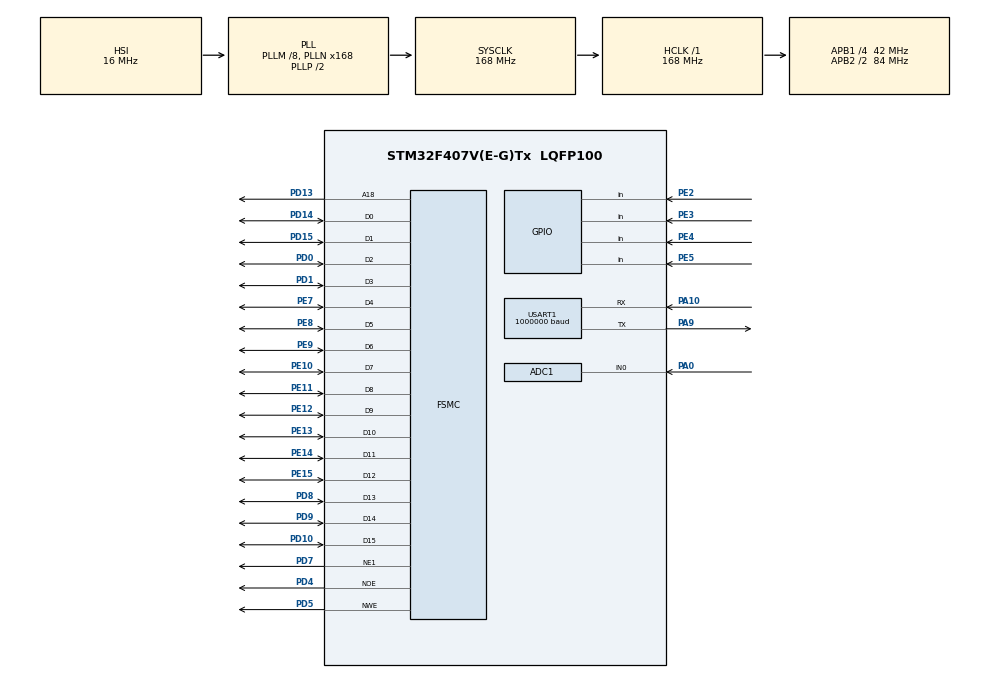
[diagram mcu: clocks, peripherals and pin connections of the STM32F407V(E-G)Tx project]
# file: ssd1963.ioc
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ADC1.Channel-0\#ChannelRegularConversion=ADC_CHANNEL_0
ADC1.NbrOfConversionFlag=1
ADC1.Rank-0\#ChannelRegularConversion=1
ADC1.SamplingTime-0\#ChannelRegularConversion=ADC_SAMPLETIME_3CYCLES
ADC1.master=1
FSMC.AddressSetupTime1=1
FSMC.DataSetupTime1=5
FSMC.WriteOperation1=FSMC_WRITE_OPERATION_ENABLE
Mcu.Family=STM32F4
Mcu.Name=STM32F407V(E-G)Tx
Mcu.Package=LQFP100
NVIC.PriorityGroup=NVIC_PRIORITYGROUP_4
NVIC.TIM1_BRK_TIM9_IRQn=true\:0\:0\:false\:false\:true\:true\:true\:true
NVIC.TIM7_IRQn=true\:0\:0\:false\:false\:true\:true\:true\:true
PA0-WKUP.Signal=ADCx_IN0
PA10.Mode=Asynchronous
PA10.Signal=USART1_RX
PA9.Mode=Asynchronous
PA9.Signal=USART1_TX
PD0.Mode=16b-d1
PD0.Signal=FSMC_D2
PD1.Mode=16b-d1
PD1.Signal=FSMC_D3
PD10.Mode=16b-d1
PD10.Signal=FSMC_D15
PD13.Mode=A18_1
PD13.Signal=FSMC_A18
PD14.Mode=16b-d1
PD14.Signal=FSMC_D0
PD15.Mode=16b-d1
PD15.Signal=FSMC_D1
PD4.Mode=Lcd1
PD4.Signal=FSMC_NOE
PD5.Mode=Lcd1
PD5.Signal=FSMC_NWE
PD7.Mode=NorPsramChipSelect1_1
PD7.Signal=FSMC_NE1
PD8.Mode=16b-d1
PD8.Signal=FSMC_D13
PD9.Mode=16b-d1
PD9.Signal=FSMC_D14
PE10.Mode=16b-d1
PE10.Signal=FSMC_D7
PE11.Mode=16b-d1
PE11.Signal=FSMC_D8
PE12.Mode=16b-d1
PE12.Signal=FSMC_D9
PE13.Mode=16b-d1
PE13.Signal=FSMC_D10
PE14.Mode=16b-d1
PE14.Signal=FSMC_D11
PE15.Mode=16b-d1
PE15.Signal=FSMC_D12
PE2.GPIO_PuPd=GPIO_PULLDOWN
PE2.Signal=GPIO_Input
PE3.GPIO_PuPd=GPIO_PULLDOWN
PE3.Signal=GPIO_Input
PE4.GPIO_PuPd=GPIO_PULLDOWN
PE4.Signal=GPIO_Input
PE5.GPIO_PuPd=GPIO_PULLDOWN
PE5.Signal=GPIO_Input
PE7.Mode=16b-d1
PE7.Signal=FSMC_D4
PE8.Mode=16b-d1
PE8.Signal=FSMC_D5
PE9.Mode=16b-d1
PE9.Signal=FSMC_D6
ProjectManager.HeapSize=0x200
ProjectManager.StackSize=0x400
ProjectManager.TargetToolchain=STM32CubeIDE
RCC.48MHZClocksFreq_Value=84000000
RCC.AHBFreq_Value=168000000
RCC.APB1CLKDivider=RCC_HCLK_DIV4
RCC.APB1Freq_Value=42000000
RCC.APB1TimFreq_Value=84000000
RCC.APB2CLKDivider=RCC_HCLK_DIV2
RCC.APB2Freq_Value=84000000
RCC.APB2TimFreq_Value=168000000
RCC.CortexFreq_Value=168000000
RCC.HCLKFreq_Value=168000000
RCC.HSE_VALUE=25000000
RCC.HSI_VALUE=16000000
RCC.LSE_VALUE=32768
RCC.PLLM=8
RCC.PLLN=168
RCC.SYSCLKFreq_VALUE=168000000
RCC.SYSCLKSource=RCC_SYSCLKSOURCE_PLLCLK
RCC.VCOOutputFreq_Value=336000000
SH.ADCx_IN0.0=ADC1_IN0,IN0
TIM7.Period=49
TIM7.Prescaler=8399
TIM9.Period=1999
TIM9.Prescaler=16799
USART1.BaudRate=1000000
USART1.VirtualMode=VM_ASYNC
VP_TIM7_VS_ClockSourceINT.Mode=Enable_Timer
VP_TIM9_VS_ClockSourceINT.Mode=Internal
board=custom

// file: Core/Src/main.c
/* USER CODE BEGIN Header */
/**
  ******************************************************************************
  * @file           : main.c
  * @brief          : Main program body
  ******************************************************************************
  * @attention
  *
  * Copyright (c) 2025 STMicroelectronics.
  * All rights reserved.
  *
  * This software is licensed under terms that can be found in the LICENSE file
  * in the root directory of this software component.
  * If no LICENSE file comes with this software, it is provided AS-IS.
  *
  ******************************************************************************
  */
/* USER CODE END Header */
#include "main.h"

/* USER CODE BEGIN Includes */
#include "menu.h"
#include "math.h"
#include <stdio.h>

uint8_t flag_botao_k0 = 0;
uint8_t flag_botao_k1 = 0;

/* USER CODE END Includes */

/* USER CODE BEGIN PD */

#define COUNT_LIM 50

/* USER CODE END PD */

ADC_HandleTypeDef hadc1;

TIM_HandleTypeDef htim7;
TIM_HandleTypeDef htim9;

UART_HandleTypeDef huart1;

SRAM_HandleTypeDef hsram1;

void SystemClock_Config(void);
static void MX_GPIO_Init(void);
static void MX_FSMC_Init(void);
static void MX_USART1_UART_Init(void);
static void MX_TIM7_Init(void);
static void MX_TIM9_Init(void);
static void MX_ADC1_Init(void);

int main(void)
{

  /* MCU Configuration--------------------------------------------------------*/

  /* Reset of all peripherals, Initializes the Flash interface and the Systick. */
  HAL_Init();

  /* Configure the system clock */
  SystemClock_Config();

  /* Initialize all configured peripherals */
  MX_GPIO_Init();
  MX_FSMC_Init();
  MX_USART1_UART_Init();
  MX_TIM7_Init();
  MX_TIM9_Init();
  MX_ADC1_Init();
  /* USER CODE BEGIN 2 */
  Init_SSD1963();
  HAL_TIM_Base_Start_IT(&htim7);
  HAL_TIM_Base_Start_IT(&htim9);
  TFT_Clear_Screen(VIVID_BLUE);
  /* USER CODE END 2 */

  /* Infinite loop */
  while (1)
  {

    /* USER CODE BEGIN 3 */

/************************************   MENU PRINCIPAL  *********************************************/
	  if(current_screen == 0){

		// Verifica se houve uma troca de telas, para imprimir apenas uma vez os elementos
		if (current_screen != ultimo_estado_menu)
		{
			TFT_Draw_Fill_Rectangle(0, 75, 800, 323, VIVID_BLUE);	// Limpa a tela
			starter_Screen();	// Imprime o esqueleto do menu
			home_screen();		// Printa os rótulos das opções e elementos individuais
			zeraBotoes();		// Zera os botões
		}

		// Verifica se alguém clicou no botão de troca de tela
		if (flag_botao_on){
			flag_escrita_tela = 1;	// Seta a flag de atualizar o rodapé e cabeçalho
			current_screen = 1;		// Muda o valor da tela atual
			zeraBotoes();			// Zera o valor da flag
		}

		// Verifica se alguém clicou no item onde descerá pelas opções da interface
		if (flag_botao_down)
		{
			zeraBotoes();		// Zera a flag dos botões
			item_selected++;	// Incrementa o item selecionado

			// Verifica se chegou no limite da lista e rezeta
			if (item_selected >= NUM_ITEMS)
				item_selected = 0;
		}

		// Verifica se alguém clicou no item onde subirá pelas opções da interface
		if(flag_botao_up)
		{
			zeraBotoes();		// Zera a flag dos botões
			item_selected--;	// Decrementa o item selecionado

			// Verifica se chegou no limite superior da lista e rezeta
			if (item_selected < 0)
				item_selected = NUM_ITEMS - 1;
		}

		// Função responsável por atualizar o cursor quando houver uma mudança no item selecionado
		atualiza_Cursor();
	  }

/************************************   TELA ESPECÍFICA  *********************************************/
	  else
	  {
			if (current_screen != ultimo_estado_menu)
			{
				TFT_Draw_Fill_Rectangle(0, 75, 800, 323, VIVID_BLUE);
				starter_Screen();
				ultimo_estado_menu = current_screen;
				flag_botao_on = flag_botao_off = flag_botao_up = flag_botao_down = 0;
			}

			/********************* BANHO *************************/
			if(item_selected == 0)
			{
				if(flag_estado_banho)
				{
					if(!flag_desligar_banho)
					{
						if(flag_resistencia_ativa)
						{
							flag_resistencia_ativa = flag_resistencia_ativa;
						}
						else if(!flag_resistencia_ativa && !flag_iniciar_banho)
						{
							sprintf(buffer, "%d|25", temp);
							LCD_Font(551, 310, buffer, _Open_Sans_Bold_24, 1, WHITE);
							LCD_Font(631, 307, "c", _Open_Sans_Bold_18, 1, WHITE);
							TFT_Draw_Circle(629, 293, 2, 0, 1, WHITE);
							LCD_Font(661, 307, "Aquecendo",_Open_Sans_Bold_16, 1, WHITE);
							flag_resistencia_ativa = 1;
						}

						if(flag_botao_on || volume_ficticio <= 1.0f)
						{
							TFT_Draw_Fill_Rectangle(0, 75, 800, 323, VIVID_BLUE);
							LCD_Font(150, 185, "Finalizando...", _Open_Sans_Bold_20, 1, WHITE);
							TFT_Draw_Fill_Round_Rect(150, 200, 500, 30, 10, GRAYISH_BLUE);
							flag_desligar_banho = 1;
							flag_resistencia_ativa = 0;
							zeraBotoes();
							flag_iniciar_banho = 0;
							contador_Iniciar = 0;

							flag_escrita_tela = 1;
						}
					}
					else
					{
						if(ultimo_contador_Desligar != contador_Desligar && (contador_Desligar % 5 == 0))
						{
							ultimo_contador_Desligar = contador_Desligar;
							uint16_t w = (500 * contador_Desligar) / COUNT_LIM;
							TFT_Draw_Fill_Round_Rect(150, 200, w, 30, 10, WHITE);
						}
					}
				}
				else
				{
					if (flag_botao_off)
					{
						flag_escrita_tela = 1;
						zeraBotoes();
						flag_botao_on = flag_botao_off = flag_botao_up = flag_botao_down = 0;
						current_screen = 0;
					}

					if(flag_botao_on && !flag_estado_banho && !flag_desligar_banho)
					{
						zeraBotoes();
						if(volume_ficticio >= 5.0f)
						{
							flag_escrita_tela = 1;
							flag_iniciar_banho = 1;
							flag_estado_banho = 1;
							TFT_Draw_Bitmap(603, 337, RECIRCULACAO_WIDTH, RECIRCULACAO_HEIGHT, recirculacao_bitmap, WHITE);
							LCD_Font(643, 357, "Recirculando",_Open_Sans_Bold_16, 1, WHITE);
						}

					}
				}

				if(volume_ficticio >= 10.0f && ultimo_volume_ficticio < 10.0f)
				{
					TFT_Draw_Fill_Round_Rect(620, 175, 150, 25, 5, GREEN);
					LCD_Font(658, 191, "nivel bom",_Open_Sans_Bold_14, 1, VIVID_BLUE);
					ultimo_volume_ficticio = volume_ficticio;
				}
				else if(volume_ficticio > 5.0f && volume_ficticio < 10.0f &&
						(ultimo_volume_ficticio <= 5.0f || ultimo_volume_ficticio >= 10.0f))
				{
					TFT_Draw_Fill_Round_Rect(620, 175, 150, 25, 5, YELLOW);
					LCD_Font(655, 191, "nivel baixo",_Open_Sans_Bold_14, 1, VIVID_BLUE);
					ultimo_volume_ficticio = volume_ficticio;
				}
				else if(volume_ficticio <= 5.0f && ultimo_volume_ficticio > 5.0f)
				{
					TFT_Draw_Fill_Round_Rect(620, 175, 150, 25, 5, RED);
					LCD_Font(630, 191, "nivel insuficiente",_Open_Sans_Bold_14, 1, VIVID_BLUE);
					ultimo_volume_ficticio = volume_ficticio;
				}

				if(flag_botao_up)
				{
					zeraBotoes();
					temp++;

					if(temp > 42) temp = 42;

					else
					{
						TFT_Draw_Fill_Rectangle(160, 185, 150, 100, VIVID_BLUE);
						sprintf(buffer, "%d", temp);
						LCD_Font(160, 280, buffer,_Open_Sans_Bold_128, 1, WHITE);

						TFT_Draw_Fill_Rectangle(546, 290, 35, 30, VIVID_BLUE);
						sprintf(buffer, "%d", temp);

						if(flag_resistencia_ativa) LCD_Font(551, 310, buffer, _Open_Sans_Bold_24, 1, WHITE);
						else LCD_Font(551, 310, buffer, _Open_Sans_Bold_24, 1, GRAYISH_BLUE);
					}
				}

				if(flag_botao_down)
				{
					zeraBotoes();
					temp--;

					if(temp < 36) temp = 36;

					else
					{
						TFT_Draw_Fill_Rectangle(160, 185, 150, 100, VIVID_BLUE);
						sprintf(buffer, "%d", temp);
						LCD_Font(160, 280, buffer,_Open_Sans_Bold_128, 1, WHITE);

						TFT_Draw_Fill_Rectangle(546, 290, 35, 30, VIVID_BLUE);
						sprintf(buffer, "%d", temp);

						if(flag_resistencia_ativa) LCD_Font(551, 310, buffer, _Open_Sans_Bold_24, 1, WHITE);
						else LCD_Font(551, 310, buffer, _Open_Sans_Bold_24, 1, GRAYISH_BLUE);
					}
				}

				if(flag_atualizar_tela && !flag_desligar_banho)
				{
					TFT_Draw_Fill_Rectangle(595, 130, 65, 28, VIVID_BLUE);
					sprintf(buffer, "%.1f", volume_ficticio);
					LCD_Font(600, 155, buffer,_Open_Sans_Bold_28, 1, WHITE);
					flag_atualizar_tela = 0;
				}
			}

			/********************* ABASTECIMENTO *************************/
			else if(item_selected == 1)
			{
				if(volume_ficticio >= 19.5f)
				{
					if(flag_estado_abastecimento) flag_estado_abastecimento = 0;

					if(!flag_volume)
					{
						TFT_Draw_Bitmap(105, 308, BANHO_PRONTO_WIDTH, BANHO_PRONTO_HEIGHT, banho_pronto_bitmap, GREEN);
						TFT_Draw_Fill_Round_Rect(145, 310, 125, 25, 5, GREEN);
						LCD_Font(163, 326, "Abastecido", _Open_Sans_Bold_14, 1, VIVID_BLUE);
						flag_escrita_tela = 1;
						flag_volume = 1;
					}
					else
					{
						if (flag_botao_off)
						{
							flag_escrita_tela = 1;
							flag_volume = 0;
							zeraBotoes();
							current_screen = 0;
						}
					}
				}
				else
				{
					if(flag_volume)
					{
						flag_volume = 0;
						flag_escrita_tela = 1;
						TFT_Draw_Fill_Round_Rect(105, 305, 165, 30, 5, VIVID_BLUE);
					}

					if(flag_estado_abastecimento)
					{
						if (flag_botao_on)
						{
							flag_escrita_tela = 1;
							zeraBotoes();
							flag_estado_abastecimento = 0;
							TFT_Draw_Bitmap(105, 308, BANHO_PRONTO_WIDTH, BANHO_PRONTO_HEIGHT, banho_pronto_bitmap, VIVID_BLUE);
							TFT_Draw_Fill_Round_Rect(145, 310, 125, 25, 5, VIVID_BLUE);
						}
					}
					else
					{
						if(flag_botao_on && volume_ficticio <= 19.5)
						{
							flag_escrita_tela = 1;
							flag_estado_abastecimento = 1;
							zeraBotoes();
							TFT_Draw_Bitmap(105, 308, BANHO_PRONTO_WIDTH, BANHO_PRONTO_HEIGHT, banho_pronto_bitmap, YELLOW);
							TFT_Draw_Fill_Round_Rect(145, 310, 125, 25, 5, YELLOW);
							LCD_Font(158, 326, "Abastecendo", _Open_Sans_Bold_14, 1, VIVID_BLUE);
						}

						if (flag_botao_off)
						{
							flag_escrita_tela = 1;
							zeraBotoes();
							current_screen = 0;
						}
					}
				}

				if(flag_atualizar_tela)
				{
					TFT_Draw_Fill_Rectangle(100, 180, 280, 105, VIVID_BLUE);
					sprintf(buffer, "%.1f", volume_ficticio);
					LCD_Font(100, 280, buffer, _Open_Sans_Bold_128, 1, WHITE);
					flag_atualizar_tela = 0;
				}
			}

			/********************* DRENAGEM *************************/
			else if(item_selected == 2)
			{
				if(volume_ficticio <= 0.5f)
				{
					if(flag_estado_drenagem) flag_estado_drenagem = 0;

					if(!flag_volume)
					{
						TFT_Draw_Bitmap(105, 308, BANHO_PRONTO_WIDTH, BANHO_PRONTO_HEIGHT, banho_pronto_bitmap, GREEN);
						TFT_Draw_Fill_Round_Rect(145, 310, 125, 25, 5, GREEN);
						LCD_Font(175, 326, "Drenado", _Open_Sans_Bold_14, 1, VIVID_BLUE);
						flag_escrita_tela = 1;
						flag_volume = 1;
					}
					else
					{
						if (flag_botao_off)
						{
							flag_escrita_tela = 1;
							flag_volume = 0;
							zeraBotoes();
							current_screen = 0;
						}
					}
				}
				else
				{
					if(flag_volume)
					{
						flag_volume = 0;
						flag_escrita_tela = 1;
						TFT_Draw_Fill_Round_Rect(105, 305, 165, 30, 5, VIVID_BLUE);
					}

					if(flag_estado_drenagem)
					{
						if (flag_botao_on)
						{
							flag_escrita_tela = 1;
							zeraBotoes();
							flag_estado_drenagem = 0;
							TFT_Draw_Bitmap(105, 308, BANHO_PRONTO_WIDTH, BANHO_PRONTO_HEIGHT, banho_pronto_bitmap, VIVID_BLUE);
							TFT_Draw_Fill_Round_Rect(145, 310, 125, 25, 5, VIVID_BLUE);
						}
					}
					else
					{
						if(flag_botao_on && volume_ficticio >= 0.5f)
						{
							flag_escrita_tela = 1;
							flag_estado_drenagem = 1;
							zeraBotoes();
							TFT_Draw_Bitmap(105, 308, BANHO_PRONTO_WIDTH, BANHO_PRONTO_HEIGHT, banho_pronto_bitmap, YELLOW);
							TFT_Draw_Fill_Round_Rect(145, 310, 125, 25, 5, YELLOW);
							LCD_Font(170, 326, "Drenando", _Open_Sans_Bold_14, 1, VIVID_BLUE);
						}

						if (flag_botao_off)
						{
							flag_escrita_tela = 1;
							zeraBotoes();
							current_screen = 0;
						}
					}
				}

				if(flag_atualizar_tela)
				{
					TFT_Draw_Fill_Rectangle(100, 180, 280, 105, VIVID_BLUE);
					sprintf(buffer, "%.1f", volume_ficticio);
					LCD_Font(100, 280, buffer, _Open_Sans_Bold_128, 1, WHITE);
					flag_atualizar_tela = 0;
				}
			}

			/********************* CONFIGURAÇÃO *************************/
			else if(item_selected == 3)
			{
				if (flag_botao_off)
				{
					flag_escrita_tela = 1;
					zeraBotoes();
					current_screen = 0;
				}
			}

	  }

		header_fotter();

  }
  /* USER CODE END 3 */
}

void SystemClock_Config(void)
{
  RCC_OscInitTypeDef RCC_OscInitStruct = {0};
  RCC_ClkInitTypeDef RCC_ClkInitStruct = {0};

  /** Configure the main internal regulator output voltage
  */
  __HAL_RCC_PWR_CLK_ENABLE();
  __HAL_PWR_VOLTAGESCALING_CONFIG(PWR_REGULATOR_VOLTAGE_SCALE1);

  /** Initializes the RCC Oscillators according to the specified parameters
  * in the RCC_OscInitTypeDef structure.
  */
  RCC_OscInitStruct.OscillatorType = RCC_OSCILLATORTYPE_HSI;
  RCC_OscInitStruct.HSIState = RCC_HSI_ON;
  RCC_OscInitStruct.HSICalibrationValue = RCC_HSICALIBRATION_DEFAULT;
  RCC_OscInitStruct.PLL.PLLState = RCC_PLL_ON;
  RCC_OscInitStruct.PLL.PLLSource = RCC_PLLSOURCE_HSI;
  RCC_OscInitStruct.PLL.PLLM = 8;
  RCC_OscInitStruct.PLL.PLLN = 168;
  RCC_OscInitStruct.PLL.PLLP = RCC_PLLP_DIV2;
  RCC_OscInitStruct.PLL.PLLQ = 4;
  if (HAL_RCC_OscConfig(&RCC_OscInitStruct) != HAL_OK)
  {
    Error_Handler();
  }

  /** Initializes the CPU, AHB and APB buses clocks
  */
  RCC_ClkInitStruct.ClockType = RCC_CLOCKTYPE_HCLK|RCC_CLOCKTYPE_SYSCLK
                              |RCC_CLOCKTYPE_PCLK1|RCC_CLOCKTYPE_PCLK2;
  RCC_ClkInitStruct.SYSCLKSource = RCC_SYSCLKSOURCE_PLLCLK;
  RCC_ClkInitStruct.AHBCLKDivider = RCC_SYSCLK_DIV1;
  RCC_ClkInitStruct.APB1CLKDivider = RCC_HCLK_DIV4;
  RCC_ClkInitStruct.APB2CLKDivider = RCC_HCLK_DIV2;

  if (HAL_RCC_ClockConfig(&RCC_ClkInitStruct, FLASH_LATENCY_5) != HAL_OK)
  {
    Error_Handler();
  }
}

static void MX_ADC1_Init(void)
{

  ADC_ChannelConfTypeDef sConfig = {0};

  /** Configure the global features of the ADC (Clock, Resolution, Data Alignment and number of conversion)
  */
  hadc1.Instance = ADC1;
  hadc1.Init.ClockPrescaler = ADC_CLOCK_SYNC_PCLK_DIV4;
  hadc1.Init.Resolution = ADC_RESOLUTION_12B;
  hadc1.Init.ScanConvMode = DISABLE;
  hadc1.Init.ContinuousConvMode = DISABLE;
  hadc1.Init.DiscontinuousConvMode = DISABLE;
  hadc1.Init.ExternalTrigConvEdge = ADC_EXTERNALTRIGCONVEDGE_NONE;
  hadc1.Init.ExternalTrigConv = ADC_SOFTWARE_START;
  hadc1.Init.DataAlign = ADC_DATAALIGN_RIGHT;
  hadc1.Init.NbrOfConversion = 1;
  hadc1.Init.DMAContinuousRequests = DISABLE;
  hadc1.Init.EOCSelection = ADC_EOC_SINGLE_CONV;
  if (HAL_ADC_Init(&hadc1) != HAL_OK)
  {
    Error_Handler();
  }

  /** Configure for the selected ADC regular channel its corresponding rank in the sequencer and its sample time.
  */
  sConfig.Channel = ADC_CHANNEL_0;
  sConfig.Rank = 1;
  sConfig.SamplingTime = ADC_SAMPLETIME_3CYCLES;
  if (HAL_ADC_ConfigChannel(&hadc1, &sConfig) != HAL_OK)
  {
    Error_Handler();
  }

}

static void MX_TIM7_Init(void)
{

  TIM_MasterConfigTypeDef sMasterConfig = {0};

  htim7.Instance = TIM7;
  htim7.Init.Prescaler = 8399;
  htim7.Init.CounterMode = TIM_COUNTERMODE_UP;
  htim7.Init.Period = 49;
  htim7.Init.AutoReloadPreload = TIM_AUTORELOAD_PRELOAD_DISABLE;
  if (HAL_TIM_Base_Init(&htim7) != HAL_OK)
  {
    Error_Handler();
  }
  sMasterConfig.MasterOutputTrigger = TIM_TRGO_RESET;
  sMasterConfig.MasterSlaveMode = TIM_MASTERSLAVEMODE_DISABLE;
  if (HAL_TIMEx_MasterConfigSynchronization(&htim7, &sMasterConfig) != HAL_OK)
  {
    Error_Handler();
  }

}

static void MX_TIM9_Init(void)
{

  TIM_ClockConfigTypeDef sClockSourceConfig = {0};

  htim9.Instance = TIM9;
  htim9.Init.Prescaler = 16799;
  htim9.Init.CounterMode = TIM_COUNTERMODE_UP;
  htim9.Init.Period = 1999;
  htim9.Init.ClockDivision = TIM_CLOCKDIVISION_DIV1;
  htim9.Init.AutoReloadPreload = TIM_AUTORELOAD_PRELOAD_DISABLE;
  if (HAL_TIM_Base_Init(&htim9) != HAL_OK)
  {
    Error_Handler();
  }
  sClockSourceConfig.ClockSource = TIM_CLOCKSOURCE_INTERNAL;
  if (HAL_TIM_ConfigClockSource(&htim9, &sClockSourceConfig) != HAL_OK)
  {
    Error_Handler();
  }

}

static void MX_USART1_UART_Init(void)
{

  huart1.Instance = USART1;
  huart1.Init.BaudRate = 1000000;
  huart1.Init.WordLength = UART_WORDLENGTH_8B;
  huart1.Init.StopBits = UART_STOPBITS_1;
  huart1.Init.Parity = UART_PARITY_NONE;
  huart1.Init.Mode = UART_MODE_TX_RX;
  huart1.Init.HwFlowCtl = UART_HWCONTROL_NONE;
  huart1.Init.OverSampling = UART_OVERSAMPLING_16;
  if (HAL_UART_Init(&huart1) != HAL_OK)
  {
    Error_Handler();
  }

}

static void MX_GPIO_Init(void)
{
  GPIO_InitTypeDef GPIO_InitStruct = {0};

  /* GPIO Ports Clock Enable */
  __HAL_RCC_GPIOE_CLK_ENABLE();
  __HAL_RCC_GPIOA_CLK_ENABLE();
  __HAL_RCC_GPIOD_CLK_ENABLE();

  /*Configure GPIO pins : PE2 PE3 PE4 PE5 */
  GPIO_InitStruct.Pin = GPIO_PIN_2|GPIO_PIN_3|GPIO_PIN_4|GPIO_PIN_5;
  GPIO_InitStruct.Mode = GPIO_MODE_INPUT;
  GPIO_InitStruct.Pull = GPIO_PULLDOWN;
  HAL_GPIO_Init(GPIOE, &GPIO_InitStruct);

}

/* FSMC initialization function */
static void MX_FSMC_Init(void)
{

  FSMC_NORSRAM_TimingTypeDef Timing = {0};

  /** Perform the SRAM1 memory initialization sequence
  */
  hsram1.Instance = FSMC_NORSRAM_DEVICE;
  hsram1.Extended = FSMC_NORSRAM_EXTENDED_DEVICE;
  /* hsram1.Init */
  hsram1.Init.NSBank = FSMC_NORSRAM_BANK1;
  hsram1.Init.DataAddressMux = FSMC_DATA_ADDRESS_MUX_DISABLE;
  hsram1.Init.MemoryType = FSMC_MEMORY_TYPE_SRAM;
  hsram1.Init.MemoryDataWidth = FSMC_NORSRAM_MEM_BUS_WIDTH_16;
  hsram1.Init.BurstAccessMode = FSMC_BURST_ACCESS_MODE_DISABLE;
  hsram1.Init.WaitSignalPolarity = FSMC_WAIT_SIGNAL_POLARITY_LOW;
  hsram1.Init.WrapMode = FSMC_WRAP_MODE_DISABLE;
  hsram1.Init.WaitSignalActive = FSMC_WAIT_TIMING_BEFORE_WS;
  hsram1.Init.WriteOperation = FSMC_WRITE_OPERATION_ENABLE;
  hsram1.Init.WaitSignal = FSMC_WAIT_SIGNAL_DISABLE;
  hsram1.Init.ExtendedMode = FSMC_EXTENDED_MODE_DISABLE;
  hsram1.Init.AsynchronousWait = FSMC_ASYNCHRONOUS_WAIT_DISABLE;
  hsram1.Init.WriteBurst = FSMC_WRITE_BURST_DISABLE;
  hsram1.Init.PageSize = FSMC_PAGE_SIZE_NONE;
  /* Timing */
  Timing.AddressSetupTime = 1;
  Timing.AddressHoldTime = 15;
  Timing.DataSetupTime = 5;
  Timing.BusTurnAroundDuration = 15;
  Timing.CLKDivision = 16;
  Timing.DataLatency = 17;
  Timing.AccessMode = FSMC_ACCESS_MODE_A;
  /* ExtTiming */

  if (HAL_SRAM_Init(&hsram1, &Timing, NULL) != HAL_OK)
  {
    Error_Handler( );
  }

}

/* USER CODE BEGIN 4 */

int __io_putchar(int ch) {
	USART1->DR = (ch & (uint16_t) 0x01FF);
	while (!(USART1->SR & USART_SR_TXE))
		; //espera pelo fim da transmissão do caractere para evitar a segunda transmissão antes da primeira ser concluída
	return ch;
}

int __io_getchar(void) {
	return (uint16_t) (USART1->DR & (uint16_t) 0x01FF);
}

void HAL_TIM_PeriodElapsedCallback(TIM_HandleTypeDef *htim) {

	if(htim->Instance == TIM7)
	{
		int8_t botao_selecionado = scan_membrana();
		if(botao_selecionado != -1){

			switch(botao_selecionado){

			case 10:
				flag_botao_on = 1;
				break;

			case 1:
				flag_botao_off = 1;
				break;

			case 2:
				flag_botao_up = 1;
				break;

			case 3:
				flag_botao_down = 1;
				break;
			}
		}
	}
	if(htim->Instance == TIM9)
	{
			if(contador_Printar_Numero < 5)	contador_Printar_Numero++;
			else
			{
				flag_atualizar_tela = 1;
				contador_Printar_Numero = 0;
				HAL_ADC_Start(&hadc1);
				uint16_t adc_value = HAL_ADC_GetValue(&hadc1);
				volume_ficticio = (float)adc_value * 20.0f / 4095.0f;
				HAL_ADC_Stop(&hadc1);
			}

		if(flag_iniciar_banho)
		{
			if(contador_Iniciar >= COUNT_LIM)
			{
				contador_Iniciar = 0;
				flag_iniciar_banho = 0;
				flag_escrita_tela = 1;
			}
			else
			{
				contador_Iniciar++;
			}

		}

		if(flag_desligar_banho)
		{
			if(contador_Desligar >= COUNT_LIM)
			{
				flag_estado_banho = 0;
				contador_Desligar = 0;
				ultimo_contador_Desligar = 0;
				flag_desligar_banho = 0;
				TFT_Draw_Fill_Rectangle(0, 81, 800, 317, VIVID_BLUE);
				starter_Screen();
				flag_escrita_tela = 1;
			}
			else contador_Desligar++;
		}
	}
}

/* USER CODE END 4 */

void Error_Handler(void)
{
  __disable_irq();
  while (1)
  {
  }
}
